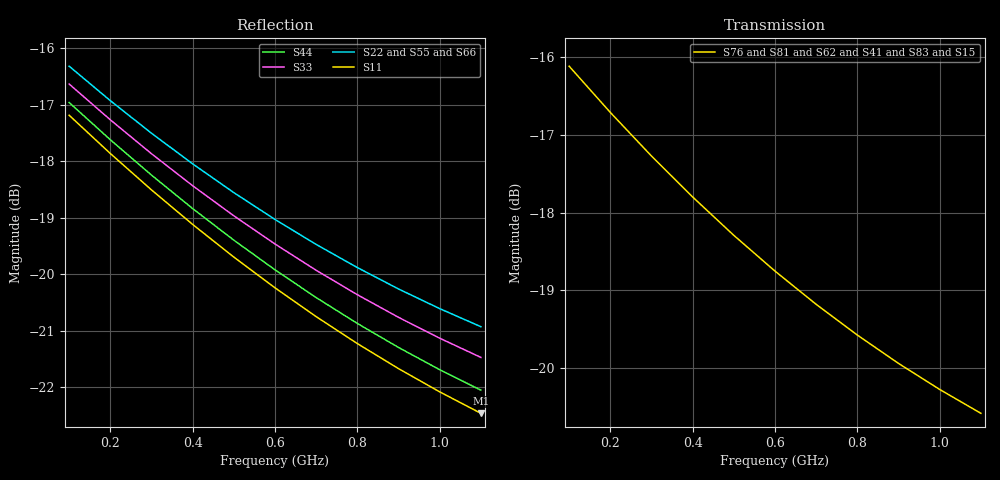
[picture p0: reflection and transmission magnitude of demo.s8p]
# GHZ S RI R 50
! Port 1 = DDR0_DQ0
! Port 2 = DDR0_DQ1
! Port 3 = DDR0_DQ2
! Port 4 = DDR0_DQ3
! Port 5 = DDR0_DQ4
! Port 6 = DDR0_DQ5
! Port 7 = DDR0_DQ6
! Port 8 = DDR0_DQ7
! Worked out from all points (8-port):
!   11 points, 100 MHz to 1.1 GHz, reference 50 ohm
!   strongest paths, dB at 100 MHz, 300 MHz, 600 MHz, 900 MHz, 1.1 GHz:
!     S76: -16.1, -17.3, -18.8, -19.9, -20.6
!     S81: -16.1, -17.3, -18.8, -19.9, -20.6
!     S62: -16.2, -17.4, -18.9, -20.1, -20.8
!     S41: -16.2, -17.4, -18.9, -20.1, -20.8
!     S83: -16.2, -17.4, -18.9, -20.1, -20.8
!     S15: -16.2, -17.4, -18.9, -20.1, -20.8
!   lowest |S11| = -22.5 dB at 1.1 GHz (marker M1), VSWR 1.16, Z = 45.4 + j5.56 ohm
!   |S11| at or under -10 dB: start of sweep to end of sweep
